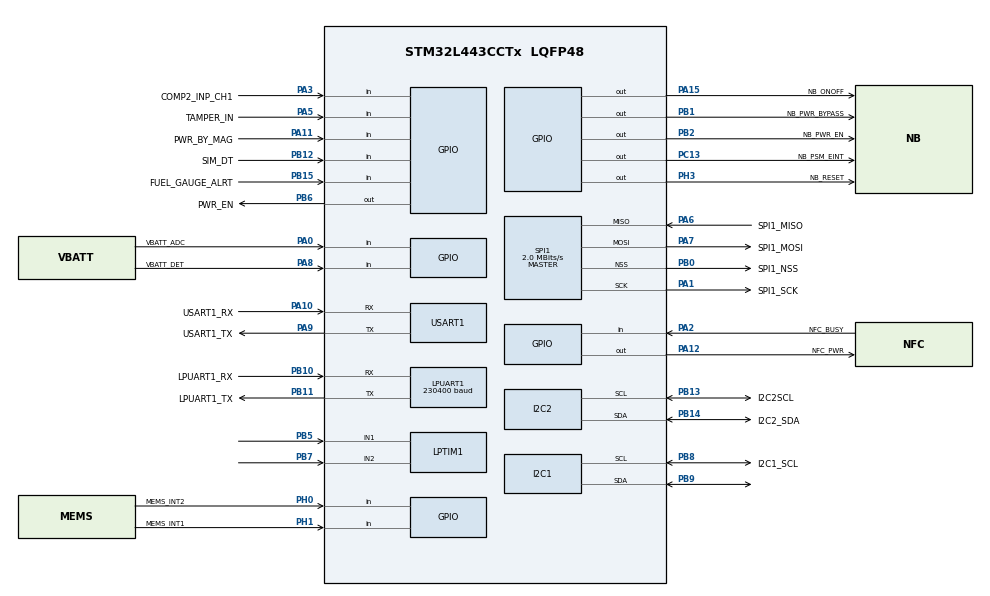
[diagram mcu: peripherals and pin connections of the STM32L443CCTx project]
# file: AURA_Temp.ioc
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I2C1.Timing=0x00100D14
I2C2.Timing=0x00100D14
LPUART1.BaudRate=230400
LPUART1.WordLength=UART_WORDLENGTH_8B
Mcu.Family=STM32L4
Mcu.Name=STM32L443CCTx
Mcu.Package=LQFP48
NVIC.LPTIM1_IRQn=true\:0\:0\:false\:false\:true\:true\:true\:true
NVIC.PriorityGroup=NVIC_PRIORITYGROUP_4
NVIC.RTC_Alarm_IRQn=true\:0\:0\:false\:false\:true\:true\:true\:true
NVIC.WWDG_IRQn=true\:0\:0\:false\:false\:true\:true\:true\:true
PA0.GPIO_Label=VBATT_ADC
PA0.Signal=GPIO_Input
PA1.GPIO_Label=SPI1_SCK
PA1.Mode=Full_Duplex_Master
PA1.Signal=SPI1_SCK
PA10.GPIO_Label=USART1_RX
PA10.Mode=Asynchronous
PA10.Signal=USART1_RX
PA11.GPIO_Label=PWR_BY_MAG
PA11.Signal=GPIO_Input
PA12.GPIO_Label=NFC_PWR
PA12.Signal=GPIO_Output
PA13\ (JTMS-SWDIO).Mode=Serial_Wire
PA13\ (JTMS-SWDIO).Signal=SYS_JTMS-SWDIO
PA14\ (JTCK-SWCLK).Mode=Serial_Wire
PA14\ (JTCK-SWCLK).Signal=SYS_JTCK-SWCLK
PA15\ (JTDI).GPIO_Label=NB_ONOFF
PA15\ (JTDI).Signal=GPIO_Output
PA2.GPIO_Label=NFC_BUSY
PA2.Signal=GPIO_Input
PA3.GPIO_Label=COMP2_INP_CH1
PA3.Signal=GPIO_Input
PA5.GPIO_Label=TAMPER_IN
PA5.Signal=GPIO_Input
PA6.GPIO_Label=SPI1_MISO
PA6.Mode=Full_Duplex_Master
PA6.Signal=SPI1_MISO
PA7.GPIO_Label=SPI1_MOSI
PA7.Mode=Full_Duplex_Master
PA7.Signal=SPI1_MOSI
PA8.GPIO_Label=VBATT_DET
PA8.Signal=GPIO_Input
PA9.GPIO_Label=USART1_TX
PA9.Mode=Asynchronous
PA9.Signal=USART1_TX
PB0.GPIO_Label=SPI1_NSS
PB0.Mode=NSS_Signal_Hard_Output
PB0.Signal=SPI1_NSS
PB1.GPIO_Label=NB_PWR_BYPASS
PB1.Signal=GPIO_Output
PB10.GPIO_Label=LPUART1_RX
PB10.Mode=Asynchronous
PB10.Signal=LPUART1_RX
PB11.GPIO_Label=LPUART1_TX
PB11.Mode=Asynchronous
PB11.Signal=LPUART1_TX
PB12.GPIO_Label=SIM_DT
PB12.Signal=GPIO_Input
PB13.GPIO_Label=I2C2SCL
PB13.Mode=I2C
PB13.Signal=I2C2_SCL
PB14.GPIO_Label=I2C2_SDA
PB14.Mode=I2C
PB14.Signal=I2C2_SDA
PB15.GPIO_Label=FUEL_GAUGE_ALRT
PB15.Signal=GPIO_Input
PB2.GPIO_Label=NB_PWR_EN
PB2.Signal=GPIO_Output
PB5.Mode=Encoder_mode_occur1
PB5.Signal=LPTIM1_IN1
PB6.GPIO_Label=PWR_EN
PB6.Signal=GPIO_Output
PB7.Mode=Encoder_mode_occur1
PB7.Signal=LPTIM1_IN2
PB8.GPIO_Label=I2C1_SCL
PB8.Mode=I2C
PB8.Signal=I2C1_SCL
PB9.Mode=I2C
PB9.Signal=I2C1_SDA
PC13.GPIO_Label=NB_PSM_EINT
PC13.Signal=GPIO_Output
PC14-OSC32_IN\ (PC14).Mode=LSE-External-Oscillator
PC14-OSC32_IN\ (PC14).Signal=RCC_OSC32_IN
PC15-OSC32_OUT\ (PC15).Mode=LSE-External-Oscillator
PC15-OSC32_OUT\ (PC15).Signal=RCC_OSC32_OUT
PH0-OSC_IN\ (PH0).GPIO_Label=MEMS_INT2
PH0-OSC_IN\ (PH0).Signal=GPIO_Input
PH1-OSC_OUT\ (PH1).GPIO_Label=MEMS_INT1
PH1-OSC_OUT\ (PH1).Signal=GPIO_Input
PH3-BOOT0.GPIO_Label=NB_RESET
PH3-BOOT0.Signal=GPIO_Output
ProjectManager.HeapSize=0x200
ProjectManager.StackSize=0x400
ProjectManager.TargetToolchain=STM32CubeIDE
RCC.AHBFreq_Value=4000000
RCC.APB1Freq_Value=4000000
RCC.APB1TimFreq_Value=4000000
RCC.APB2Freq_Value=4000000
RCC.APB2TimFreq_Value=4000000
RCC.CortexFreq_Value=4000000
RCC.HCLKFreq_Value=4000000
RCC.HSE_VALUE=8000000
RCC.HSI48_VALUE=48000000
RCC.HSI_VALUE=16000000
RCC.MSI_VALUE=4000000
RCC.RTCClockSelection=RCC_RTCCLKSOURCE_LSE
RCC.SYSCLKFreq_VALUE=4000000
RCC.VCOOutputFreq_Value=32000000
RTC.Alarm-Alarm\ A=RTC_ALARM_A
SPI1.CalculateBaudRate=2.0 MBits/s
SPI1.Direction=SPI_DIRECTION_2LINES
SPI1.Mode=SPI_MODE_MASTER
SPI1.VirtualNSS=VM_NSSHARD
SPI1.VirtualType=VM_MASTER
USART1.VirtualMode-Asynchronous=VM_ASYNC
VP_CRC_VS_CRC.Mode=CRC_Activate
VP_RTC_VS_RTC_Activate.Mode=RTC_Enabled
VP_RTC_VS_RTC_Alarm_A_Intern.Mode=Alarm A
VP_RTC_VS_RTC_Calendar.Mode=RTC_Calendar
VP_WWDG_VS_WWDG.Mode=WWDG_Activate
board=custom

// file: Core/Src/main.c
/* USER CODE BEGIN Header */
/**
  ******************************************************************************
  * @file           : main.c
  * @brief          : Aura V2
  ******************************************************************************
  * @attention
  * @PIC: CYK
  * @Created: 25 Sep 2025
  * @Git link: https://github.com/yeekongGK/aura_cube.git
  * @TODO
  * 	*
  *
  *
  ******************************************************************************
  */
/* USER CODE END Header */
#include "main.h"
#include "crc.h"
#include "i2c.h"
#include "lptim.h"
#include "usart.h"
#include "rtc.h"
#include "spi.h"
#include "wwdg.h"
#include "gpio.h"

/* USER CODE BEGIN Includes */
#include <stdio.h>
#include <string.h>
#include <stdarg.h>

#include "max17260.h"
#include "max1726x.h"

#include "sys.h"
#include "cfg.h"
#include "nfctag.h"
/* USER CODE END Includes */

void SystemClock_Config(void);
/* USER CODE BEGIN PFP */
void UART_Printf(char *format, ...);
/* USER CODE END PFP */

int main(void)
{

  /* MCU Configuration--------------------------------------------------------*/

  /* Reset of all peripherals, Initializes the Flash interface and the Systick. */
  HAL_Init();

  /* Configure the system clock */
  SystemClock_Config();

  /* Initialize all configured peripherals */
  MX_GPIO_Init();
  MX_LPTIM1_Init();
  MX_I2C1_Init();
  MX_I2C2_Init();
  MX_LPUART1_UART_Init();
  MX_USART1_UART_Init();
  MX_SPI1_Init();
  MX_RTC_Init();
  MX_WWDG_Init();
  MX_CRC_Init();
  /* USER CODE BEGIN 2 */

  BatteryMonitor_Init();

  for (uint16_t addr = 1; addr < 128; addr++)
  {
	  if (HAL_I2C_IsDeviceReady(&hi2c1, (uint16_t)(addr << 1), 2, 10) == HAL_OK)
	  {
		  UART_Printf("Found device at 0x%02X\r\n", addr);
	  }
  }

//  CFG_ApplyDefaults(&config);
  UART_Printf("test %d\n\r", config.system.mcuFrequency);
  // if (maxim_max1726x_check_por()) {
  //     UART_Printf("POR detected. Initializing MAX1726x with EZ Config...\r\n");
  //     maxim_max1726x_wait_dnr();                // Wait for the chip to be ready
  //     maxim_max1726x_initialize_ez_config();    // Load your battery parameters
  //     maxim_max1726x_clear_por();               // Clear the POR flag
  //     UART_Printf("Initialization complete.\r\n");
  // } else {
  //     UART_Printf("No POR detected. MAX1726x already configured.\r\n");
  // }
  MAX17260_Register_printout();
  /* USER CODE END 2 */

  /* Infinite loop */
  while (1)
  {

    /* USER CODE BEGIN 3 */

	  // uint16_t value = BatteryMonitor_GetQH();
	  // UART_Printf("1test %d\r\n",value);
    // HAL_Delay(1000);
	  NFCTAG_Task();
	  //-----------------------------------------------------------------
//    float soc_percentage;
//    float voltage_f;
//    float current_f;
//
//    uint16_t vcell_raw;
//    int16_t current_raw; // Current can be negative (discharging)
//
//    // Read State of Charge (%) using the library's helper function
//    soc_percentage = maxim_max1726x_get_repsoc();
//
//    // Read raw register values for Voltage and Current
//    maxim_max1726x_read_reg(MAX1726X_VCELL_REG, &vcell_raw);
//    maxim_max1726x_read_reg(MAX1726X_CURRENT_REG, (uint16_t*)&current_raw);
//
//    // Convert raw values to human-readable format
//    // Datasheet: VCell LSB = 78.125 uV
//    voltage_f = vcell_raw * 78.125f / 1000.0f; // Result in mV
//
//    // Datasheet: Current LSB = 1.5625 uV / Rsense. Assuming Rsense = 10mOhm (0.01 Ohm)
//    // LSB = 1.5625uV / 0.01Ohm = 156.25 uA = 0.15625 mA
//    current_f = current_raw * 0.15625f; // Result in mA
//
//    // Print the results
//    UART_Printf("SOC: %.2f%%, Voltage: %.0f mV, Current: %.2f mA\r\n",
//            soc_percentage, voltage_f, current_f);
//
//    // Wait for a couple of seconds before the next reading
//    HAL_Delay(2000);
    //-----------------------------------------------------------------

  }
  /* USER CODE END 3 */
}

void SystemClock_Config(void)
{
  LL_FLASH_SetLatency(LL_FLASH_LATENCY_0);
  while(LL_FLASH_GetLatency()!= LL_FLASH_LATENCY_0)
  {
  }
  LL_PWR_SetRegulVoltageScaling(LL_PWR_REGU_VOLTAGE_SCALE1);
  while (LL_PWR_IsActiveFlag_VOS() != 0)
  {
  }
  LL_RCC_MSI_Enable();

   /* Wait till MSI is ready */
  while(LL_RCC_MSI_IsReady() != 1)
  {

  }
  LL_RCC_MSI_EnableRangeSelection();
  LL_RCC_MSI_SetRange(LL_RCC_MSIRANGE_6);
  LL_RCC_MSI_SetCalibTrimming(0);
  LL_PWR_EnableBkUpAccess();
  LL_RCC_LSE_SetDriveCapability(LL_RCC_LSEDRIVE_LOW);
  LL_RCC_LSE_Enable();

   /* Wait till LSE is ready */
  while(LL_RCC_LSE_IsReady() != 1)
  {

  }
  LL_RCC_MSI_EnablePLLMode();
  LL_RCC_SetSysClkSource(LL_RCC_SYS_CLKSOURCE_MSI);

   /* Wait till System clock is ready */
  while(LL_RCC_GetSysClkSource() != LL_RCC_SYS_CLKSOURCE_STATUS_MSI)
  {

  }
  LL_RCC_SetAHBPrescaler(LL_RCC_SYSCLK_DIV_1);
  LL_RCC_SetAPB1Prescaler(LL_RCC_APB1_DIV_1);
  LL_RCC_SetAPB2Prescaler(LL_RCC_APB2_DIV_1);
  LL_SetSystemCoreClock(4000000);

   /* Update the time base */
  if (HAL_InitTick (TICK_INT_PRIORITY) != HAL_OK)
  {
    Error_Handler();
  }
}

/* USER CODE BEGIN 4 */

void UART_Printf(char *format, ...)
{
  char str[256];
  va_list args;
  va_start(args, format);
  vsnprintf(str, sizeof(str), format, args);
  va_end(args);

  HAL_UART_Transmit(&huart1, (uint8_t *)str, strlen(str), HAL_MAX_DELAY);
}

/* USER CODE END 4 */

void Error_Handler(void)
{
  __disable_irq();
  while (1)
  {
  }
}
